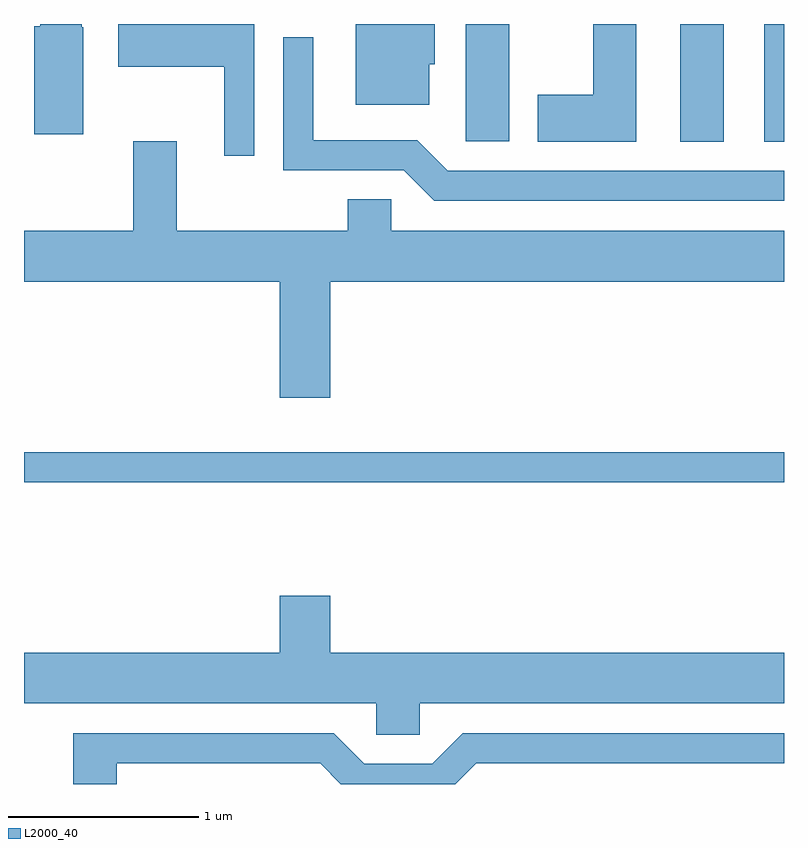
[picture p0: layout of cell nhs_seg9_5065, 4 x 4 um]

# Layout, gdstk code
import gdstk
lib = gdstk.Library(unit=1e-6, precision=1e-09)
def R(c, l, rs):  # rectangles x0, y0, x1, y1
    for r in rs: c.add(gdstk.rectangle(r[:2], r[2:], *l))
def P(c, l, *ps):  # polygons
    for p in ps: c.add(gdstk.Polygon(p, *l))
L2000_40 = (2000, 40)

nhs_seg9_5065 = lib.new_cell('nhs_seg9_5065')
R(nhs_seg9_5065, L2000_40, [(333.611,2064.021,337.611,2064.179), (337.066,2065.811,337.294,2066.432), (337.506,2065.811,337.611,2066.432), (335.936,2065.816,336.164,2066.432)])
P(nhs_seg9_5065, L2000_40, [(336.834,2066.432),(336.606,2066.432),(336.606,2066.059),(336.316,2066.059),(336.316,2065.811),(336.834,2065.811)],
  [(334.824,2066.432),(334.106,2066.432),(334.106,2066.206),(334.666,2066.206),(334.666,2065.738),(334.824,2065.738)],
  [(333.924,2066.415),(333.914,2066.415),(333.914,2066.432),(333.696,2066.432),(333.696,2066.419),(333.666,2066.419),(333.666,2065.851),(333.924,2065.851)],
  [(335.744,2066.221),(335.774,2066.221),(335.774,2066.432),(335.356,2066.432),(335.356,2066.006),(335.744,2066.006)],
  [(337.611,2065.659),(335.842,2065.659),(335.682,2065.819),(335.134,2065.819),(335.134,2066.363),(334.976,2066.363),(334.976,2065.661),(335.609,2065.661),(335.769,2065.501),(337.611,2065.501)],
  [(335.224,2065.076),(337.611,2065.076),(337.611,2065.344),(335.544,2065.344),(335.544,2065.509),(335.316,2065.509),(335.316,2065.344),(334.414,2065.344),(334.414,2065.814),(334.186,2065.814),(334.186,2065.344),(333.611,2065.344),(333.611,2065.076),(334.956,2065.076),(334.956,2064.466),(335.224,2064.466)],
  [(335.694,2062.856),(337.611,2062.856),(337.611,2063.124),(335.224,2063.124),(335.224,2063.424),(334.956,2063.424),(334.956,2063.124),(333.611,2063.124),(333.611,2062.856),(335.466,2062.856),(335.466,2062.691),(335.694,2062.691)],
  [(334.099,2062.541),(335.169,2062.541),(335.278,2062.432),(335.882,2062.432),(335.992,2062.541),(337.611,2062.541),(337.611,2062.699),(335.919,2062.699),(335.759,2062.539),(335.402,2062.539),(335.242,2062.699),(333.871,2062.699),(333.871,2062.432),(334.099,2062.432)])

lib.write_gds('nhs_seg9_5065.gds')
